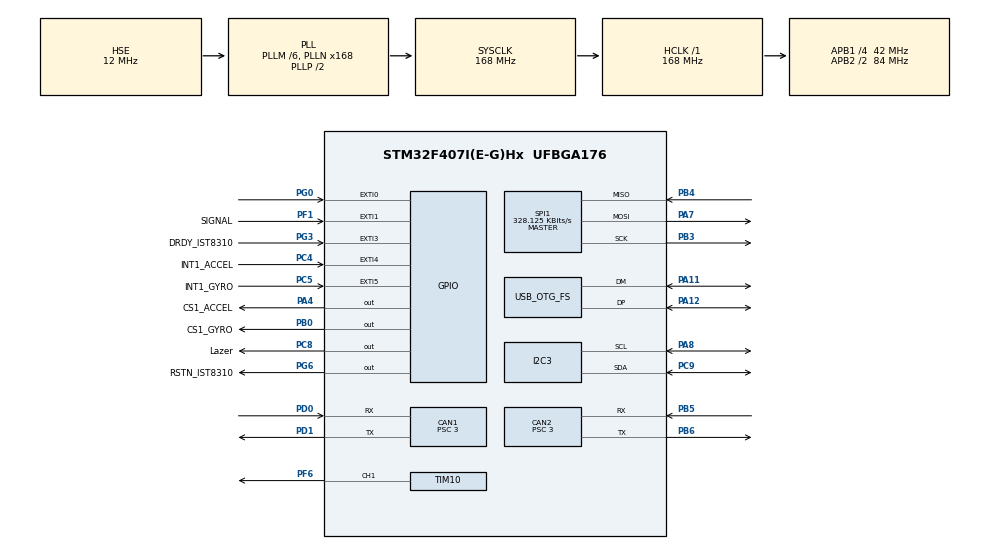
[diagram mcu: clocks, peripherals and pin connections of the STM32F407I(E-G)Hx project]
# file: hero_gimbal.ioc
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CAN1.BS1=CAN_BS1_10TQ
CAN1.BS2=CAN_BS2_3TQ
CAN1.CalculateBaudRate=1000000
CAN1.CalculateTimeBit=1000
CAN1.CalculateTimeQuantum=71.42857142857143
CAN1.Prescaler=3
CAN1.TXFP=DISABLE
CAN2.BS1=CAN_BS1_10TQ
CAN2.BS2=CAN_BS2_3TQ
CAN2.CalculateBaudRate=1000000
CAN2.CalculateTimeBit=1000
CAN2.CalculateTimeQuantum=71.42857142857143
CAN2.Prescaler=3
CAN2.TXFP=DISABLE
Dma.Request0=SPI1_RX
Dma.Request1=SPI1_TX
Dma.SPI1_RX.0.Direction=DMA_PERIPH_TO_MEMORY
Dma.SPI1_RX.0.FIFOMode=DMA_FIFOMODE_DISABLE
Dma.SPI1_RX.0.Instance=DMA2_Stream2
Dma.SPI1_RX.0.MemDataAlignment=DMA_MDATAALIGN_BYTE
Dma.SPI1_RX.0.MemInc=DMA_MINC_ENABLE
Dma.SPI1_RX.0.Mode=DMA_NORMAL
Dma.SPI1_RX.0.PeriphDataAlignment=DMA_PDATAALIGN_BYTE
Dma.SPI1_RX.0.PeriphInc=DMA_PINC_DISABLE
Dma.SPI1_RX.0.Priority=DMA_PRIORITY_VERY_HIGH
Dma.SPI1_TX.1.Direction=DMA_MEMORY_TO_PERIPH
Dma.SPI1_TX.1.FIFOMode=DMA_FIFOMODE_DISABLE
Dma.SPI1_TX.1.Instance=DMA2_Stream3
Dma.SPI1_TX.1.MemDataAlignment=DMA_MDATAALIGN_BYTE
Dma.SPI1_TX.1.MemInc=DMA_MINC_ENABLE
Dma.SPI1_TX.1.Mode=DMA_NORMAL
Dma.SPI1_TX.1.PeriphDataAlignment=DMA_PDATAALIGN_BYTE
Dma.SPI1_TX.1.PeriphInc=DMA_PINC_DISABLE
Dma.SPI1_TX.1.Priority=DMA_PRIORITY_HIGH
FREERTOS.INCLUDE_eTaskGetState=1
FREERTOS.INCLUDE_pcTaskGetTaskName=1
FREERTOS.INCLUDE_uxTaskGetStackHighWaterMark=1
FREERTOS.INCLUDE_vTaskCleanUpResources=1
FREERTOS.INCLUDE_vTaskDelayUntil=1
FREERTOS.INCLUDE_xEventGroupSetBitFromISR=1
FREERTOS.INCLUDE_xQueueGetMutexHolder=1
FREERTOS.INCLUDE_xSemaphoreGetMutexHolder=1
FREERTOS.INCLUDE_xTaskAbortDelay=1
FREERTOS.INCLUDE_xTaskGetCurrentTaskHandle=1
FREERTOS.INCLUDE_xTaskGetHandle=1
FREERTOS.INCLUDE_xTimerPendFunctionCall=1
FREERTOS.Tasks01=test,0,128,test_task,As weak,NULL,Dynamic,NULL,NULL;ShowRunningTask,3,128,ShowRunningFun,As weak,NULL,Dynamic,NULL,NULL;DMGimbalTask,2,128,DMGimbalFun,As weak,NULL,Dynamic,NULL,NULL;ShootTask,2,128,ShootFun,As weak,NULL,Dynamic,NULL,NULL;OutControlTask,1,128,OutControlFun,As weak,NULL,Dynamic,NULL,NULL;ImuTask,3,1024,ImuFun,As weak,NULL,Dynamic,NULL,NULL
FREERTOS.configTOTAL_HEAP_SIZE=24576
I2C3.I2C_Mode=I2C_Fast
Mcu.Family=STM32F4
Mcu.Name=STM32F407I(E-G)Hx
Mcu.Package=UFBGA176
NVIC.CAN1_RX0_IRQn=true\:5\:0\:false\:false\:true\:true\:true\:true\:true
NVIC.CAN2_RX0_IRQn=true\:5\:0\:false\:false\:true\:true\:true\:true\:true
NVIC.DMA2_Stream2_IRQn=true\:5\:0\:false\:false\:true\:false\:false\:true\:true
NVIC.DMA2_Stream3_IRQn=true\:5\:0\:false\:false\:true\:true\:false\:true\:true
NVIC.EXTI0_IRQn=true\:6\:0\:true\:false\:true\:true\:true\:true\:true
NVIC.EXTI1_IRQn=true\:5\:0\:false\:false\:true\:true\:true\:true\:true
NVIC.EXTI3_IRQn=true\:5\:0\:true\:false\:true\:true\:true\:true\:true
NVIC.EXTI4_IRQn=true\:5\:0\:false\:false\:true\:true\:true\:true\:true
NVIC.EXTI9_5_IRQn=true\:5\:0\:false\:false\:true\:true\:true\:true\:true
NVIC.OTG_FS_IRQn=true\:5\:0\:false\:false\:true\:true\:false\:true\:true
NVIC.PriorityGroup=NVIC_PRIORITYGROUP_4
NVIC.TIM1_UP_TIM10_IRQn=true\:0\:0\:false\:false\:true\:false\:false\:true\:true
NVIC.TIM6_DAC_IRQn=true\:5\:0\:false\:false\:true\:true\:true\:true\:true
NVIC.TimeBase=TIM1_UP_TIM10_IRQn
NVIC.TimeBaseIP=TIM1
PA11.Mode=Device_Only
PA11.Signal=USB_OTG_FS_DM
PA12.Mode=Device_Only
PA12.Signal=USB_OTG_FS_DP
PA13.Mode=Serial_Wire
PA13.Signal=SYS_JTMS-SWDIO
PA14.Mode=Serial_Wire
PA14.Signal=SYS_JTCK-SWCLK
PA4.GPIO_Label=CS1_ACCEL
PA4.GPIO_PuPd=GPIO_PULLUP
PA4.GPIO_Speed=GPIO_SPEED_FREQ_HIGH
PA4.PinState=GPIO_PIN_SET
PA4.Signal=GPIO_Output
PA7.GPIO_PuPd=GPIO_PULLUP
PA7.Mode=Full_Duplex_Master
PA7.Signal=SPI1_MOSI
PA8.GPIO_Pu=GPIO_PULLUP
PA8.Mode=I2C
PA8.Signal=I2C3_SCL
PB0.GPIO_Label=CS1_GYRO
PB0.GPIO_PuPd=GPIO_PULLUP
PB0.GPIO_Speed=GPIO_SPEED_FREQ_HIGH
PB0.PinState=GPIO_PIN_SET
PB0.Signal=GPIO_Output
PB3.Mode=Full_Duplex_Master
PB3.Signal=SPI1_SCK
PB4.GPIO_PuPd=GPIO_PULLUP
PB4.Mode=Full_Duplex_Master
PB4.Signal=SPI1_MISO
PB5.Mode=CAN_Activate
PB5.Signal=CAN2_RX
PB6.Mode=CAN_Activate
PB6.Signal=CAN2_TX
PC4.GPIO_Label=INT1_ACCEL
PC4.GPIO_ModeDefaultEXTI=GPIO_MODE_IT_FALLING
PC4.Signal=GPXTI4
PC5.GPIO_Label=INT1_GYRO
PC5.Signal=GPXTI5
PC8.GPIO_Label=Lazer
PC8.PinState=GPIO_PIN_SET
PC8.Signal=GPIO_Output
PC9.GPIO_Pu=GPIO_PULLUP
PC9.Mode=I2C
PC9.Signal=I2C3_SDA
PD0.Mode=CAN_Activate
PD0.Signal=CAN1_RX
PD1.Mode=CAN_Activate
PD1.Signal=CAN1_TX
PF1.GPIO_Label=SIGNAL
PF1.Signal=GPXTI1
PF6.GPIO_PuPd=GPIO_PULLUP
PF6.GPIO_Speed=GPIO_SPEED_FREQ_HIGH
PF6.Signal=S_TIM10_CH1
PG0.GPIO_ModeDefaultEXTI=GPIO_MODE_IT_FALLING
PG0.GPIO_PuPd=GPIO_PULLUP
PG0.Signal=GPXTI0
PG3.GPIO_Label=DRDY_IST8310
PG3.GPIO_ModeDefaultEXTI=GPIO_MODE_IT_FALLING
PG3.GPIO_PuPd=GPIO_PULLUP
PG3.Signal=GPXTI3
PG6.GPIO_Label=RSTN_IST8310
PG6.GPIO_PuPd=GPIO_PULLUP
PG6.GPIO_Speed=GPIO_SPEED_FREQ_MEDIUM
PG6.PinState=GPIO_PIN_SET
PG6.Signal=GPIO_Output
PH0-OSC_IN.Mode=HSE-External-Oscillator
PH0-OSC_IN.Signal=RCC_OSC_IN
PH1-OSC_OUT.Mode=HSE-External-Oscillator
PH1-OSC_OUT.Signal=RCC_OSC_OUT
ProjectManager.HeapSize=0x2000
ProjectManager.StackSize=0x2000
ProjectManager.TargetToolchain=MDK-ARM V5
RCC.48MHZClocksFreq_Value=48000000
RCC.AHBFreq_Value=168000000
RCC.APB1CLKDivider=RCC_HCLK_DIV4
RCC.APB1Freq_Value=42000000
RCC.APB1TimFreq_Value=84000000
RCC.APB2CLKDivider=RCC_HCLK_DIV2
RCC.APB2Freq_Value=84000000
RCC.APB2TimFreq_Value=168000000
RCC.CortexFreq_Value=168000000
RCC.EnbaleCSS=true
RCC.HCLKFreq_Value=168000000
RCC.HSE_VALUE=12000000
RCC.HSI_VALUE=16000000
RCC.LSE_VALUE=32768
RCC.PLLM=6
RCC.PLLN=168
RCC.PLLQ=7
RCC.RCC_RTC_Clock_SourceVirtual=RCC_RTCCLKSOURCE_HSE_DIV30
RCC.RCC_RTC_Clock_Source_FROM_HSE=RCC_RTCCLKSOURCE_HSE_DIV30
RCC.SYSCLKFreq_VALUE=168000000
RCC.SYSCLKSource=RCC_SYSCLKSOURCE_PLLCLK
RCC.VCOOutputFreq_Value=336000000
SH.S_TIM10_CH1.0=TIM10_CH1,PWM Generation1 CH1
SPI1.BaudRatePrescaler=SPI_BAUDRATEPRESCALER_256
SPI1.CLKPhase=SPI_PHASE_2EDGE
SPI1.CLKPolarity=SPI_POLARITY_HIGH
SPI1.CalculateBaudRate=328.125 KBits/s
SPI1.Direction=SPI_DIRECTION_2LINES
SPI1.Mode=SPI_MODE_MASTER
SPI1.VirtualType=VM_MASTER
TIM10.Channel=TIM_CHANNEL_1
TIM10.Period=4999
TIM6.AutoReloadPreload=TIM_AUTORELOAD_PRELOAD_ENABLE
TIM6.Period=2499
TIM6.Prescaler=671
USB_DEVICE.CLASS_NAME_FS=CDC
USB_DEVICE.VirtualMode-CDC_FS=Cdc
USB_DEVICE.VirtualModeFS=Cdc_FS
USB_OTG_FS.VirtualMode=Device_Only
VP_FREERTOS_VS_CMSIS_V1.Mode=CMSIS_V1
VP_SYS_VS_tim1.Mode=TIM1
VP_TIM10_VS_ClockSourceINT.Mode=Enable_Timer
VP_TIM6_VS_ClockSourceINT.Mode=Enable_Timer
VP_USB_DEVICE_VS_USB_DEVICE_CDC_FS.Mode=CDC_FS
board=custom

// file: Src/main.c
/* USER CODE BEGIN Header */
/**
  ******************************************************************************
  * @file           : main.c
  * @brief          : Main program body
  ******************************************************************************
  * @attention
  *
  * <h2><center>&copy; Copyright (c) 2019 STMicroelectronics.
  * All rights reserved.</center></h2>
  *
  * This software component is licensed by ST under Ultimate Liberty license
  * SLA0044, the "License"; You may not use this file except in compliance with
  * the License. You may obtain a copy of the License at:
  *                             www.st.com/SLA0044
  *
  ******************************************************************************
  */
/* USER CODE END Header */
#include "main.h"
#include "cmsis_os.h"
#include "can.h"
#include "dma.h"
#include "i2c.h"
#include "spi.h"
#include "tim.h"
#include "usb_device.h"
#include "gpio.h"

/* USER CODE BEGIN Includes */
#include "bsp_delay.h"
#include "judge.h"
#include "tuxin.h"
#include "pls.h"
#include "INS_task.h"

//#include "gimbal_task.h"
/* USER CODE END Includes */

/* USER CODE BEGIN PD */

//volatile SYSTEMVALUE SystemValue = Starting;	////程序状态
//volatile EnvironmentModeType EnvironmentMode = NOMAL;	//所处环境
//volatile ControlModeType ControlMode = KEYBOARD; //REMOTE;//KEYBOARD;			//控制方式
/*
Volatile关键字的作用主要有如下两个：
1.线程的可见性：当一个线程修改一个共享变量时，另外一个线程能读到这个修改的值。
2. 顺序一致性：禁止指令重排序
*/
//uint32_t control_judge_flag = 0;
//uint8_t ALL_DATA_BUFF[30] = {0};
//uint8_t Send_buf[5] = {0};
//uint8_t state_judge = 0;
/* USER CODE END PD */

void SystemClock_Config(void);
void MX_FREERTOS_Init(void);

int main(void)
{

  /* MCU Configuration--------------------------------------------------------*/

  /* Reset of all peripherals, Initializes the Flash interface and the Systick. */
  HAL_Init();

  /* Configure the system clock */
  SystemClock_Config();

  /* Initialize all configured peripherals */
  MX_GPIO_Init();
  MX_DMA_Init();
  MX_SPI1_Init();
  MX_I2C3_Init();
  MX_CAN1_Init();
  MX_CAN2_Init();
  MX_TIM10_Init();
  MX_TIM6_Init();
  /* USER CODE BEGIN 2 */
  delay_init();
  MX_USB_DEVICE_Init();  //启动虚拟串口要放在freertos执行前 不然会启动失败
  SYSTEM_InitPeripheral();
  /* USER CODE END 2 */

  /* Call init function for freertos objects (in freertos.c) */
  MX_FREERTOS_Init();

  /* Start scheduler */
  osKernelStart();

  /* We should never get here as control is now taken by the scheduler */
  /* Infinite loop */
    while (1)
    {

    }
}

void SystemClock_Config(void)
{
  RCC_OscInitTypeDef RCC_OscInitStruct = {0};
  RCC_ClkInitTypeDef RCC_ClkInitStruct = {0};

  /** Configure the main internal regulator output voltage
  */
  __HAL_RCC_PWR_CLK_ENABLE();
  __HAL_PWR_VOLTAGESCALING_CONFIG(PWR_REGULATOR_VOLTAGE_SCALE1);

  /** Initializes the RCC Oscillators according to the specified parameters
  * in the RCC_OscInitTypeDef structure.
  */
  RCC_OscInitStruct.OscillatorType = RCC_OSCILLATORTYPE_HSE;
  RCC_OscInitStruct.HSEState = RCC_HSE_ON;
  RCC_OscInitStruct.PLL.PLLState = RCC_PLL_ON;
  RCC_OscInitStruct.PLL.PLLSource = RCC_PLLSOURCE_HSE;
  RCC_OscInitStruct.PLL.PLLM = 6;
  RCC_OscInitStruct.PLL.PLLN = 168;
  RCC_OscInitStruct.PLL.PLLP = RCC_PLLP_DIV2;
  RCC_OscInitStruct.PLL.PLLQ = 7;
  if (HAL_RCC_OscConfig(&RCC_OscInitStruct) != HAL_OK)
  {
    Error_Handler();
  }

  /** Initializes the CPU, AHB and APB buses clocks
  */
  RCC_ClkInitStruct.ClockType = RCC_CLOCKTYPE_HCLK|RCC_CLOCKTYPE_SYSCLK
                              |RCC_CLOCKTYPE_PCLK1|RCC_CLOCKTYPE_PCLK2;
  RCC_ClkInitStruct.SYSCLKSource = RCC_SYSCLKSOURCE_PLLCLK;
  RCC_ClkInitStruct.AHBCLKDivider = RCC_SYSCLK_DIV1;
  RCC_ClkInitStruct.APB1CLKDivider = RCC_HCLK_DIV4;
  RCC_ClkInitStruct.APB2CLKDivider = RCC_HCLK_DIV2;

  if (HAL_RCC_ClockConfig(&RCC_ClkInitStruct, FLASH_LATENCY_5) != HAL_OK)
  {
    Error_Handler();
  }

  /** Enables the Clock Security System
  */
  HAL_RCC_EnableCSS();
}

/* USER CODE BEGIN 4 */
/**
  * @brief  鍒濆鍖栧璁惧嚱鏁?
  * @param  void
  * @retval void
  * @attention
  */
void SYSTEM_InitPeripheral(void)
{

    //打开can1用于电机的控制
    my_can_filter_init_recv_all(&hcan1);
    HAL_CAN_Start(&hcan1);
    HAL_CAN_ActivateNotification(&hcan1, CAN_IT_RX_FIFO0_MSG_PENDING);

    my_can_filter_init_recv_all(&hcan2);
    HAL_CAN_Start(&hcan2);
    HAL_CAN_ActivateNotification(&hcan2, CAN_IT_RX_FIFO0_MSG_PENDING);

	  HAL_TIM_Base_Start_IT(&htim6);//启动定时器中断6

    //dma数据读取裁判系统
//    __HAL_UART_ENABLE_IT(&huart1, UART_IT_IDLE);////使能idle中断,用于裁判系统读取
//    HAL_UART_Receive_DMA(&huart1, judge_rx_buff, 2000); //打开DMA接收，数据存入rx_buffer_judge数组中。

//    __HAL_UART_CLEAR_IDLEFLAG(&huart6);
//    __HAL_UART_ENABLE_IT(&huart6, UART_IT_IDLE);  //本来用于和视觉通信，现在采用虚拟串口通信
//    HAL_UART_Receive_DMA(&huart6, ALL_DATA_BUFF, 12);
//    HAL_UART_Receive_DMA(&huart6, vision_buf, VISION_BUFLEN);
//

}

/* USER CODE END 4 */

void HAL_TIM_PeriodElapsedCallback(TIM_HandleTypeDef *htim)
{
  if (htim->Instance == TIM1) {
    HAL_IncTick();
  }
  /* USER CODE BEGIN Callback 1 */
	if(htim->Instance == TIM6)
	{
      IMU_frequent = IMU_cont;
			IMU_cont = 0 ;

	}
  /* USER CODE END Callback 1 */
}

void Error_Handler(void)
{
}

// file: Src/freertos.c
/* USER CODE BEGIN Header */
/**
  ******************************************************************************
  * File Name          : freertos.c
  * Description        : Code for freertos applications
  ******************************************************************************
  * @attention
  *
  * <h2><center>&copy; Copyright (c) 2019 STMicroelectronics.
  * All rights reserved.</center></h2>
  *
  * This software component is licensed by ST under Ultimate Liberty license
  * SLA0044, the "License"; You may not use this file except in compliance with
  * the License. You may obtain a copy of the License at:
  *                             www.st.com/SLA0044
  *
  ******************************************************************************
  */
/* USER CODE END Header */

#include "FreeRTOS.h"
#include "task.h"
#include "main.h"
#include "cmsis_os.h"

/* USER CODE BEGIN Includes */

#include "INS_task.h"
//#include "Info_Transmit_task.h"

/* USER CODE END Includes */

/* USER CODE BEGIN PTD */
//osThreadId Info_Transmit_handle;
/* USER CODE END PTD */

osThreadId testHandle;
osThreadId ShowRunningTaskHandle;
osThreadId DMGimbalTaskHandle;
osThreadId ShootTaskHandle;
osThreadId OutControlTaskHandle;
osThreadId ImuTaskHandle;

void test_task(void const * argument);
void ShowRunningFun(void const * argument);
void DMGimbalFun(void const * argument);
void ShootFun(void const * argument);
void OutControlFun(void const * argument);
void ImuFun(void const * argument);

extern void MX_USB_DEVICE_Init(void);
void MX_FREERTOS_Init(void); /* (MISRA C 2004 rule 8.1) */

/* GetIdleTaskMemory prototype (linked to static allocation support) */
void vApplicationGetIdleTaskMemory( StaticTask_t **ppxIdleTaskTCBBuffer, StackType_t **ppxIdleTaskStackBuffer, uint32_t *pulIdleTaskStackSize );

/* GetTimerTaskMemory prototype (linked to static allocation support) */
void vApplicationGetTimerTaskMemory( StaticTask_t **ppxTimerTaskTCBBuffer, StackType_t **ppxTimerTaskStackBuffer, uint32_t *pulTimerTaskStackSize );

/* USER CODE BEGIN GET_IDLE_TASK_MEMORY */
static StaticTask_t xIdleTaskTCBBuffer;
static StackType_t xIdleStack[configMINIMAL_STACK_SIZE];

void vApplicationGetIdleTaskMemory( StaticTask_t **ppxIdleTaskTCBBuffer, StackType_t **ppxIdleTaskStackBuffer, uint32_t *pulIdleTaskStackSize )
{
  *ppxIdleTaskTCBBuffer = &xIdleTaskTCBBuffer;
  *ppxIdleTaskStackBuffer = &xIdleStack[0];
  *pulIdleTaskStackSize = configMINIMAL_STACK_SIZE;
  /* place for user code */
}
/* USER CODE END GET_IDLE_TASK_MEMORY */

/* USER CODE BEGIN GET_TIMER_TASK_MEMORY */
static StaticTask_t xTimerTaskTCBBuffer;
static StackType_t xTimerStack[configTIMER_TASK_STACK_DEPTH];

void vApplicationGetTimerTaskMemory( StaticTask_t **ppxTimerTaskTCBBuffer, StackType_t **ppxTimerTaskStackBuffer, uint32_t *pulTimerTaskStackSize )
{
  *ppxTimerTaskTCBBuffer = &xTimerTaskTCBBuffer;
  *ppxTimerTaskStackBuffer = &xTimerStack[0];
  *pulTimerTaskStackSize = configTIMER_TASK_STACK_DEPTH;
  /* place for user code */
}
/* USER CODE END GET_TIMER_TASK_MEMORY */

void MX_FREERTOS_Init(void) {

  /* Create the thread(s) */
  /* definition and creation of test */
  osThreadDef(test, test_task, osPriorityNormal, 0, 128);
  testHandle = osThreadCreate(osThread(test), NULL);

  /* definition and creation of ShowRunningTask */
  osThreadDef(ShowRunningTask, ShowRunningFun, osPriorityRealtime, 0, 128);
  ShowRunningTaskHandle = osThreadCreate(osThread(ShowRunningTask), NULL);

  /* definition and creation of DMGimbalTask */
  osThreadDef(DMGimbalTask, DMGimbalFun, osPriorityHigh, 0, 128);
  DMGimbalTaskHandle = osThreadCreate(osThread(DMGimbalTask), NULL);

  /* definition and creation of ShootTask */
  osThreadDef(ShootTask, ShootFun, osPriorityHigh, 0, 128);
  ShootTaskHandle = osThreadCreate(osThread(ShootTask), NULL);

  /* definition and creation of OutControlTask */
  osThreadDef(OutControlTask, OutControlFun, osPriorityAboveNormal, 0, 128);
  OutControlTaskHandle = osThreadCreate(osThread(OutControlTask), NULL);

  /* definition and creation of ImuTask */
  osThreadDef(ImuTask, ImuFun, osPriorityRealtime, 0, 1024);
  ImuTaskHandle = osThreadCreate(osThread(ImuTask), NULL);

  /* USER CODE BEGIN RTOS_THREADS */

  /* add threads, ... */
//	osThreadDef(Info_Transmit, Info_Transmit_task, osPriorityHigh, 0, 1024);
//	Info_Transmit_handle = osThreadCreate(osThread(Info_Transmit), NULL);
  /* USER CODE END RTOS_THREADS */

}

__weak void test_task(void const * argument)
{
  /* init code for USB_DEVICE */
  MX_USB_DEVICE_Init();
  for(;;)
  {
    osDelay(1);
  }
}

__weak void ShowRunningFun(void const * argument)
{
  for(;;)
  {
    osDelay(1);
  }
}

__weak void DMGimbalFun(void const * argument)
{
  for(;;)
  {
    osDelay(1);
  }
}

__weak void ShootFun(void const * argument)
{
  for(;;)
  {
    osDelay(1);
  }
}

__weak void OutControlFun(void const * argument)
{
  for(;;)
  {
    osDelay(1);
  }
}

__weak void ImuFun(void const * argument)
{
  for(;;)
  {
    osDelay(1);
  }
}
